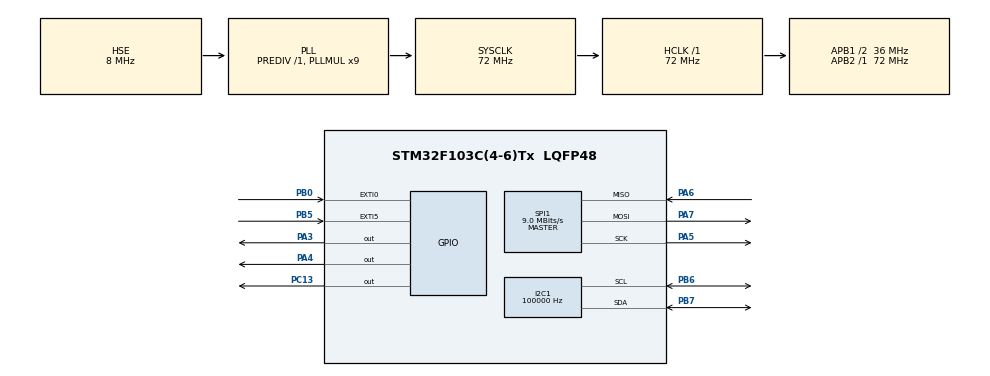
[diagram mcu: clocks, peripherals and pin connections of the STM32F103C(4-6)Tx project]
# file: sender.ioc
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I2C1.ClockSpeed=100000
Mcu.Family=STM32F1
Mcu.Name=STM32F103C(4-6)Tx
Mcu.Package=LQFP48
NVIC.EXTI0_IRQn=true\:0\:0\:false\:false\:true\:true\:true\:true
NVIC.EXTI9_5_IRQn=true\:0\:0\:false\:false\:true\:true\:true\:true
NVIC.PriorityGroup=NVIC_PRIORITYGROUP_4
PA13.Mode=Serial_Wire
PA13.Signal=SYS_JTMS-SWDIO
PA14.Mode=Serial_Wire
PA14.Signal=SYS_JTCK-SWCLK
PA3.Signal=GPIO_Output
PA4.Signal=GPIO_Output
PA5.Mode=Full_Duplex_Master
PA5.Signal=SPI1_SCK
PA6.Mode=Full_Duplex_Master
PA6.Signal=SPI1_MISO
PA7.Mode=Full_Duplex_Master
PA7.Signal=SPI1_MOSI
PB0.GPIO_ModeDefaultEXTI=GPIO_MODE_IT_FALLING
PB0.GPIO_PuPd=GPIO_PULLUP
PB0.Signal=GPXTI0
PB5.GPIO_ModeDefaultEXTI=GPIO_MODE_IT_FALLING
PB5.GPIO_PuPd=GPIO_PULLUP
PB5.Signal=GPXTI5
PB6.Mode=I2C
PB6.Signal=I2C1_SCL
PB7.Mode=I2C
PB7.Signal=I2C1_SDA
PC13-TAMPER-RTC.Signal=GPIO_Output
PD0-OSC_IN.Mode=HSE-External-Oscillator
PD0-OSC_IN.Signal=RCC_OSC_IN
PD1-OSC_OUT.Mode=HSE-External-Oscillator
PD1-OSC_OUT.Signal=RCC_OSC_OUT
ProjectManager.HeapSize=0x200
ProjectManager.StackSize=0x400
ProjectManager.TargetToolchain=STM32CubeIDE
RCC.AHBFreq_Value=72000000
RCC.APB1CLKDivider=RCC_HCLK_DIV2
RCC.APB1Freq_Value=36000000
RCC.APB1TimFreq_Value=72000000
RCC.APB2Freq_Value=72000000
RCC.APB2TimFreq_Value=72000000
RCC.HCLKFreq_Value=72000000
RCC.PLLMUL=RCC_PLL_MUL9
RCC.PLLSourceVirtual=RCC_PLLSOURCE_HSE
RCC.SYSCLKFreq_VALUE=72000000
RCC.SYSCLKSource=RCC_SYSCLKSOURCE_PLLCLK
RCC.USBFreq_Value=48000000
RCC.USBPrescaler=RCC_USBCLKSOURCE_PLL_DIV1_5
SPI1.BaudRatePrescaler=SPI_BAUDRATEPRESCALER_8
SPI1.CalculateBaudRate=9.0 MBits/s
SPI1.Direction=SPI_DIRECTION_2LINES
SPI1.Mode=SPI_MODE_MASTER
SPI1.VirtualType=VM_MASTER
board=custom

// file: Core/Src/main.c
/* USER CODE BEGIN Header */
/**
  ******************************************************************************
  * @file           : main.c
  * @brief          : Main program body
  ******************************************************************************
  * @attention
  *
  * Copyright (c) 2025 STMicroelectronics.
  * All rights reserved.
  *
  * This software is licensed under terms that can be found in the LICENSE file
  * in the root directory of this software component.
  * If no LICENSE file comes with this software, it is provided AS-IS.
  *
  ******************************************************************************
  */
/* USER CODE END Header */
#include "main.h"

/* USER CODE BEGIN Includes */
#include "nrf24_hal.h"
#include <stdbool.h>
#include <stdint.h>

/* USER CODE END Includes */

/* USER CODE BEGIN PD */
/* ----- MPR121 definitions ----- */
#define MPR121_ADDR_7B							0x5A
#define MPR121_ADDR 								(MPR121_ADDR_7B << 1)

#define MPR121_REG_TOUCH_STATUS_L 	0x00
#define MPR121_REG_ECR 							0x5E
#define MPR121_REG_DEBOUNCE					0x5B
#define MPR121_REG_ELE0_T						0x41 // ELE0_R=0x42, ELE1_T=0x43, ...

#define MPR121_TOUCH_THR_DEFAULT 		0x06 // TODO: fine-tune
#define MPR121_RELEASE_THR_DEFAULT 	0x03 // TODO: fine-tune
#define MPR121_DEBOUNCE							0x00 // TODO: fine-tune
#define MPR121_RUN_MODE							0x8C // TODO: fine-tune

/* ----- nRF24 definitions ----- */
#define NRF_CE_GPIO_Port 						GPIOA
#define NRF_CE_Pin									GPIO_PIN_4
#define NRF_CSN_GPIO_Port 					GPIOA
#define NRF_CSN_Pin 								GPIO_PIN_3

// Packet length
#define TOUCH_PKT_LEN								2

// Sensor ID mask
volatile uint8_t g_mpr_irq_pending = 0;
volatile uint16_t g_touched_mask;
static uint16_t s_prev_mask = 0;

/* USER CODE END PD */

/* USER CODE BEGIN PM */

#ifndef DEVICE_ID
#define DEVICE_ID 0
#endif

// Accommodate for 9 devices total
#if (DEVICE_ID < 0) || (DEVICE_ID > 7)
#error "DEVICE_ID must be in range [0, 7]"
#endif

// Channel split: 0-3 on CH 70, 4... on CH 85
#define RF_CH0 				70
#define RF_CH1 				85
#define RF_CH_VAL 		((DEVICE_ID) < 4 ? (RF_CH0) : (RF_CH1))

// Set pipe index 0-4
#define PIPE_INDEX 		((DEVICE_ID) < 4 ? (DEVICE_ID) : (DEVICE_ID) - 4)

// Set LSB of pipe address
#define ADDR_BASE 		((DEVICE_ID) < 4 ? (0xA0) : (0xB0))
#define ADDR_LAST 		(ADDR_BASE + PIPE_INDEX)

// Set device 5-byte address
#define ADDR_B0 0xE7
#define ADDR_B1 0xE7
#define ADDR_B2 0xE7
#define ADDR_B3 0xE7
#define ADDR_B4 ADDR_LAST

static const uint8_t NRF_ADDR[5] = {ADDR_B0, ADDR_B1, ADDR_B2, ADDR_B3, ADDR_B4};

/* USER CODE END PM */

I2C_HandleTypeDef hi2c1;
SPI_HandleTypeDef hspi1;

/* USER CODE BEGIN PV */
static nrf24_t radio;

/* USER CODE END PV */

void SystemClock_Config(void);
static void MX_GPIO_Init(void);
static void MX_I2C1_Init(void);
static void MX_SPI1_Init(void);
/* USER CODE BEGIN PFP */

/* ----- MPR121 prototypes ----- */
static HAL_StatusTypeDef MPR121_Write8(uint8_t reg, uint8_t val);
static HAL_StatusTypeDef MPR121_ReadN(uint8_t reg, uint8_t *buf, uint16_t n);
static uint16_t MPR121_ReadTouchedMask(void);
static bool MPR121_Init(void);

/* ----- nRF24 prototypes ----- */
static void NRF_Init_TX(void);
static bool NRF_Send(const uint8_t *payload, uint8_t len);

/* USER CODE END PFP */

/* USER CODE BEGIN 0 */

/* ----- MPR121 functions ----- */
// Write a value to a register on the MPR121 board
static HAL_StatusTypeDef MPR121_Write8(uint8_t reg, uint8_t val) {
	return HAL_I2C_Mem_Write(&hi2c1, MPR121_ADDR, reg, I2C_MEMADD_SIZE_8BIT, &val, 1, 50);
}

// Read a register on MPR121 board
static HAL_StatusTypeDef MPR121_ReadN(uint8_t reg, uint8_t *buf, uint16_t n) {
	return HAL_I2C_Mem_Read(&hi2c1, MPR121_ADDR, reg, I2C_MEMADD_SIZE_8BIT, buf, n, 50);
}

// Read 0x00-0x01: also clears MPR121 IRQ line
static uint16_t MPR121_ReadTouchedMask(void) {
	uint8_t s[2] = {0};
	if (MPR121_ReadN(MPR121_REG_TOUCH_STATUS_L, s, 2) != HAL_OK) {return 0;}
	return (uint16_t) s[0] | ((uint16_t) s[1] << 8);
}

// Configure thresholds and start sensing
static bool MPR121_Init(void) {
	// Stop mode while configuring
	if (MPR121_Write8(MPR121_REG_ECR, 0x00) != HAL_OK) {return false;}

	// Touch configurations for ELE0 through ELE11
	for (uint8_t ele = 0; ele < 12; ele++) {
		uint8_t treg = MPR121_REG_ELE0_T + ele * 2;

		// Set activation/release threshold
		if (MPR121_Write8(treg, MPR121_TOUCH_THR_DEFAULT) != HAL_OK) {return false;}
		if (MPR121_Write8(treg + 1, MPR121_RELEASE_THR_DEFAULT) != HAL_OK) {return false;}
	}
	// Set debounce, run mode
	if (MPR121_Write8(MPR121_REG_DEBOUNCE, MPR121_DEBOUNCE) != HAL_OK) {return false;}
	if (MPR121_Write8(MPR121_REG_ECR, MPR121_RUN_MODE) != HAL_OK) {return false;}

	return true;
}

// nRF24 initial TX configuration

static void NRF_Init_TX(void)
{
    nrf24_t n = {
        .hspi    = &hspi1,
        .ce_port = NRF_CE_GPIO_Port, .ce_pin = NRF_CE_Pin,
        .csn_port= NRF_CSN_GPIO_Port, .csn_pin= NRF_CSN_Pin,
        .irq_port= NULL, .irq_pin = 0,
        .fixed_pld_len = TOUCH_PKT_LEN
    };
    radio = n;

    // Build address: E7 E7 E7 E7 <LSB>
    uint8_t addr[5] = {0xE7,0xE7,0xE7,0xE7, ADDR_LAST};

    // Configure PTX to match receiver expectations
    // 2Mbps, 2-byte CRC, channel by DEVICE_ID split, auto-ack per user (ARC=2, ARD=250us)
    nrf24_ptx_config(&radio, RF_CH_VAL, NRF_DR_2M, 5, addr, true /*auto_ack*/, 2 /*ARC*/, 250 /*us*/);

    // Store back into static
    *(volatile nrf24_t*)&radio = radio;
}

// Queue a payload and pulse CE to transmit
static bool NRF_Send(const uint8_t *payload, uint8_t len)
{
    extern nrf24_t radio; // ensure same instance
    bool acked=false;
    return nrf24_ptx_send(&radio, payload, len, &acked);
}

static void SendTouchChanges(uint16_t new_mask) {
	uint16_t diff = new_mask ^ s_prev_mask;
	if (!diff) return;

	// Transmit event only for changed sensor states
	for (uint8_t ele = 0; ele < 12; ele++) {
		uint16_t pad_mask = diff & (1U << ele);
		if (diff & pad_mask) {
			uint8_t packet[TOUCH_PKT_LEN]; // {sensor_id, state}
			packet[0] = ele;
			packet[1] = (new_mask & pad_mask) ? 1 : 0;
			(void) NRF_Send(packet, TOUCH_PKT_LEN);
			// Opt. tiny gap if receiver tends to be busy
			// HAL_Delay(1);
		}
	}
	s_prev_mask = new_mask;
}

/* USER CODE END 0 */

int main(void)
{

  /* MCU Configuration--------------------------------------------------------*/

  /* Reset of all peripherals, Initializes the Flash interface and the Systick. */
  HAL_Init();

  /* Configure the system clock */
  SystemClock_Config();

  /* Initialize all configured peripherals */
  MX_GPIO_Init();
  MX_I2C1_Init();
  MX_SPI1_Init();
  /* USER CODE BEGIN 2 */

  // Initialize MPR121
  if (!MPR121_Init()) {
  	// Rapid blink on MPR121 init failure
  	while (1) {
  		HAL_GPIO_TogglePin(GPIOC, GPIO_PIN_13);
  		HAL_Delay(100);
  	}
  }

  // Initalize nRF24
  NRF_Init_TX();

  // Turn LED off
  HAL_GPIO_WritePin(GPIOC, GPIO_PIN_13, GPIO_PIN_SET);

  /* USER CODE END 2 */

  /* Infinite loop */
  while (1) {

    /* USER CODE BEGIN 3 */
  	if (g_mpr_irq_pending) {
  		g_mpr_irq_pending = 0;
  		uint16_t mask = MPR121_ReadTouchedMask();
  		g_touched_mask = mask;

  		// Light the LED while any electrode is touched
  		HAL_GPIO_WritePin(GPIOC, GPIO_PIN_13, (mask ? GPIO_PIN_RESET: GPIO_PIN_SET));
  		SendTouchChanges(mask);
  	}
  }
  /* USER CODE END 3 */
}

void SystemClock_Config(void)
{
  RCC_OscInitTypeDef RCC_OscInitStruct = {0};
  RCC_ClkInitTypeDef RCC_ClkInitStruct = {0};

  /** Initializes the RCC Oscillators according to the specified parameters
  * in the RCC_OscInitTypeDef structure.
  */
  RCC_OscInitStruct.OscillatorType = RCC_OSCILLATORTYPE_HSE;
  RCC_OscInitStruct.HSEState = RCC_HSE_ON;
  RCC_OscInitStruct.HSEPredivValue = RCC_HSE_PREDIV_DIV1;
  RCC_OscInitStruct.HSIState = RCC_HSI_ON;
  RCC_OscInitStruct.PLL.PLLState = RCC_PLL_ON;
  RCC_OscInitStruct.PLL.PLLSource = RCC_PLLSOURCE_HSE;
  RCC_OscInitStruct.PLL.PLLMUL = RCC_PLL_MUL9;
  if (HAL_RCC_OscConfig(&RCC_OscInitStruct) != HAL_OK)
  {
    Error_Handler();
  }

  /** Initializes the CPU, AHB and APB buses clocks
  */
  RCC_ClkInitStruct.ClockType = RCC_CLOCKTYPE_HCLK|RCC_CLOCKTYPE_SYSCLK
                              |RCC_CLOCKTYPE_PCLK1|RCC_CLOCKTYPE_PCLK2;
  RCC_ClkInitStruct.SYSCLKSource = RCC_SYSCLKSOURCE_PLLCLK;
  RCC_ClkInitStruct.AHBCLKDivider = RCC_SYSCLK_DIV1;
  RCC_ClkInitStruct.APB1CLKDivider = RCC_HCLK_DIV2;
  RCC_ClkInitStruct.APB2CLKDivider = RCC_HCLK_DIV1;

  if (HAL_RCC_ClockConfig(&RCC_ClkInitStruct, FLASH_LATENCY_2) != HAL_OK)
  {
    Error_Handler();
  }
}

static void MX_I2C1_Init(void)
{

  hi2c1.Instance = I2C1;
  hi2c1.Init.ClockSpeed = 100000;
  hi2c1.Init.DutyCycle = I2C_DUTYCYCLE_2;
  hi2c1.Init.OwnAddress1 = 0;
  hi2c1.Init.AddressingMode = I2C_ADDRESSINGMODE_7BIT;
  hi2c1.Init.DualAddressMode = I2C_DUALADDRESS_DISABLE;
  hi2c1.Init.OwnAddress2 = 0;
  hi2c1.Init.GeneralCallMode = I2C_GENERALCALL_DISABLE;
  hi2c1.Init.NoStretchMode = I2C_NOSTRETCH_DISABLE;
  if (HAL_I2C_Init(&hi2c1) != HAL_OK)
  {
    Error_Handler();
  }

}

static void MX_SPI1_Init(void)
{

  /* SPI1 parameter configuration*/
  hspi1.Instance = SPI1;
  hspi1.Init.Mode = SPI_MODE_MASTER;
  hspi1.Init.Direction = SPI_DIRECTION_2LINES;
  hspi1.Init.DataSize = SPI_DATASIZE_8BIT;
  hspi1.Init.CLKPolarity = SPI_POLARITY_LOW;
  hspi1.Init.CLKPhase = SPI_PHASE_1EDGE;
  hspi1.Init.NSS = SPI_NSS_SOFT;
  hspi1.Init.BaudRatePrescaler = SPI_BAUDRATEPRESCALER_8;
  hspi1.Init.FirstBit = SPI_FIRSTBIT_MSB;
  hspi1.Init.TIMode = SPI_TIMODE_DISABLE;
  hspi1.Init.CRCCalculation = SPI_CRCCALCULATION_DISABLE;
  hspi1.Init.CRCPolynomial = 10;
  if (HAL_SPI_Init(&hspi1) != HAL_OK)
  {
    Error_Handler();
  }

}

static void MX_GPIO_Init(void)
{
  GPIO_InitTypeDef GPIO_InitStruct = {0};

  /* GPIO Ports Clock Enable */
  __HAL_RCC_GPIOC_CLK_ENABLE();
  __HAL_RCC_GPIOD_CLK_ENABLE();
  __HAL_RCC_GPIOA_CLK_ENABLE();
  __HAL_RCC_GPIOB_CLK_ENABLE();

  /*Configure GPIO pin Output Level */
  HAL_GPIO_WritePin(GPIOC, GPIO_PIN_13, GPIO_PIN_RESET);

  /*Configure GPIO pin Output Level */
  HAL_GPIO_WritePin(GPIOA, GPIO_PIN_3|GPIO_PIN_4, GPIO_PIN_RESET);

  /*Configure GPIO pin : PC13 */
  GPIO_InitStruct.Pin = GPIO_PIN_13;
  GPIO_InitStruct.Mode = GPIO_MODE_OUTPUT_PP;
  GPIO_InitStruct.Pull = GPIO_NOPULL;
  GPIO_InitStruct.Speed = GPIO_SPEED_FREQ_LOW;
  HAL_GPIO_Init(GPIOC, &GPIO_InitStruct);

  /*Configure GPIO pins : PA3 PA4 */
  GPIO_InitStruct.Pin = GPIO_PIN_3|GPIO_PIN_4;
  GPIO_InitStruct.Mode = GPIO_MODE_OUTPUT_PP;
  GPIO_InitStruct.Pull = GPIO_NOPULL;
  GPIO_InitStruct.Speed = GPIO_SPEED_FREQ_LOW;
  HAL_GPIO_Init(GPIOA, &GPIO_InitStruct);

  /*Configure GPIO pins : PB0 PB5 */
  GPIO_InitStruct.Pin = GPIO_PIN_0|GPIO_PIN_5;
  GPIO_InitStruct.Mode = GPIO_MODE_IT_FALLING;
  GPIO_InitStruct.Pull = GPIO_PULLUP;
  HAL_GPIO_Init(GPIOB, &GPIO_InitStruct);

  /* EXTI interrupt init*/
  HAL_NVIC_SetPriority(EXTI0_IRQn, 0, 0);
  HAL_NVIC_EnableIRQ(EXTI0_IRQn);

  HAL_NVIC_SetPriority(EXTI9_5_IRQn, 0, 0);
  HAL_NVIC_EnableIRQ(EXTI9_5_IRQn);

}

void Error_Handler(void)
{
  __disable_irq();
  while (1)
  {
  }
}
